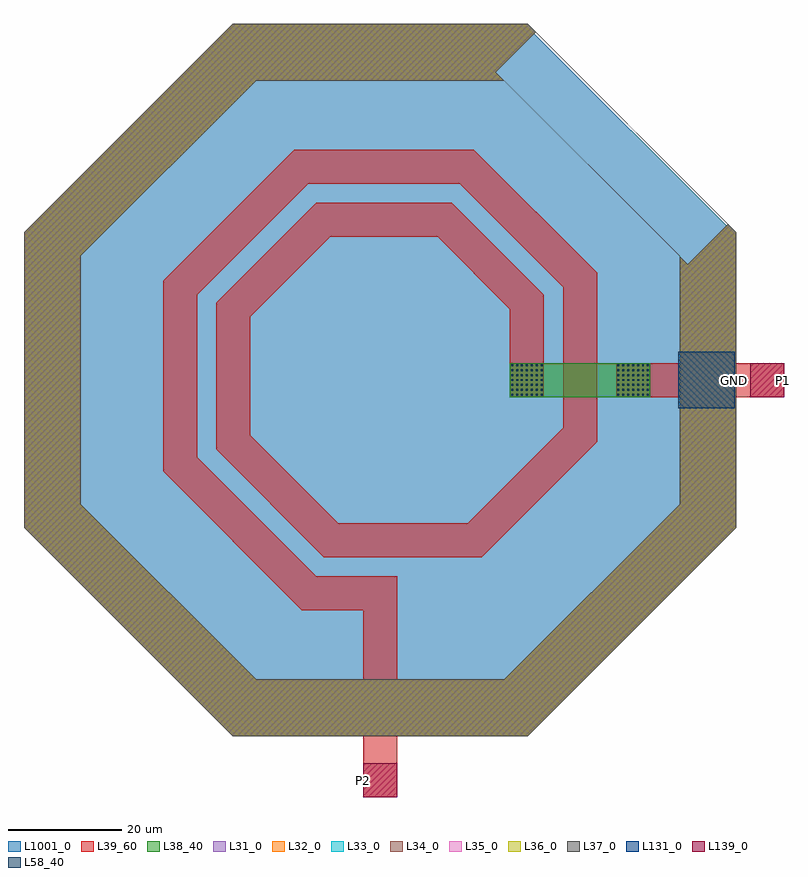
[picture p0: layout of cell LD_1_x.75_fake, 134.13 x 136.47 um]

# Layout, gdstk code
import gdstk
lib = gdstk.Library(unit=1e-6, precision=1e-09)
def R(c, l, rs):  # rectangles x0, y0, x1, y1
    for r in rs: c.add(gdstk.rectangle(r[:2], r[2:], *l))
def A(c, l, x, y, w, h, nx, ny, dx, dy):  # array of equal rectangles
    R(c, l, [(x+i*dx, y+j*dy, x+i*dx+w, y+j*dy+h) for i in range(nx) for j in range(ny)])
def P(c, l, *ps):  # polygons
    for p in ps: c.add(gdstk.Polygon(p, *l))
L31_0 = (31, 0)
L32_0 = (32, 0)
L33_0 = (33, 0)
L34_0 = (34, 0)
L35_0 = (35, 0)
L36_0 = (36, 0)
L37_0 = (37, 0)
L38_40 = (38, 40)
L39_60 = (39, 60)
L58_40 = (58, 40)
L131_0 = (131, 0)
L139_0 = (139, 0)
L1001_0 = (1001, 0)

ld_1_x_75_fake = lib.new_cell('LD_1_x.75_fake')
P(ld_1_x_75_fake, L31_0, [(54.319,20.429),(61.39,27.5),(26.035,62.855),(-26.035,62.855),(-62.855,26.035),(-62.855,-26.035),(-26.035,-62.855),(26.035,-62.855),(62.855,-26.035),(62.855,26.035),(27.5,61.39),(20.429,54.319),(52.855,21.893),(52.855,-21.893),(21.893,-52.855),(-21.893,-52.855),(-52.855,-21.893),(-52.855,21.893),(-21.893,52.855),(21.893,52.855)])
P(ld_1_x_75_fake, L32_0, [(54.319,20.429),(61.39,27.5),(26.035,62.855),(-26.035,62.855),(-62.855,26.035),(-62.855,-26.035),(-26.035,-62.855),(26.035,-62.855),(62.855,-26.035),(62.855,26.035),(27.5,61.39),(20.429,54.319),(52.855,21.893),(52.855,-21.893),(21.893,-52.855),(-21.893,-52.855),(-52.855,-21.893),(-52.855,21.893),(-21.893,52.855),(21.893,52.855)])
P(ld_1_x_75_fake, L33_0, [(54.319,20.429),(61.39,27.5),(26.035,62.855),(-26.035,62.855),(-62.855,26.035),(-62.855,-26.035),(-26.035,-62.855),(26.035,-62.855),(62.855,-26.035),(62.855,26.035),(27.5,61.39),(20.429,54.319),(52.855,21.893),(52.855,-21.893),(21.893,-52.855),(-21.893,-52.855),(-52.855,-21.893),(-52.855,21.893),(-21.893,52.855),(21.893,52.855)])
P(ld_1_x_75_fake, L34_0, [(54.319,20.429),(61.39,27.5),(26.035,62.855),(-26.035,62.855),(-62.855,26.035),(-62.855,-26.035),(-26.035,-62.855),(26.035,-62.855),(62.855,-26.035),(62.855,26.035),(27.5,61.39),(20.429,54.319),(52.855,21.893),(52.855,-21.893),(21.893,-52.855),(-21.893,-52.855),(-52.855,-21.893),(-52.855,21.893),(-21.893,52.855),(21.893,52.855)])
P(ld_1_x_75_fake, L35_0, [(54.319,20.429),(61.39,27.5),(26.035,62.855),(-26.035,62.855),(-62.855,26.035),(-62.855,-26.035),(-26.035,-62.855),(26.035,-62.855),(62.855,-26.035),(62.855,26.035),(27.5,61.39),(20.429,54.319),(52.855,21.893),(52.855,-21.893),(21.893,-52.855),(-21.893,-52.855),(-52.855,-21.893),(-52.855,21.893),(-21.893,52.855),(21.893,52.855)])
P(ld_1_x_75_fake, L36_0, [(54.319,20.429),(61.39,27.5),(26.035,62.855),(-26.035,62.855),(-62.855,26.035),(-62.855,-26.035),(-26.035,-62.855),(26.035,-62.855),(62.855,-26.035),(62.855,26.035),(27.5,61.39),(20.429,54.319),(52.855,21.893),(52.855,-21.893),(21.893,-52.855),(-21.893,-52.855),(-52.855,-21.893),(-52.855,21.893),(-21.893,52.855),(21.893,52.855)])
P(ld_1_x_75_fake, L37_0, [(54.319,20.429),(61.39,27.5),(26.035,62.855),(-26.035,62.855),(-62.855,26.035),(-62.855,-26.035),(-26.035,-62.855),(26.035,-62.855),(62.855,-26.035),(62.855,26.035),(27.5,61.39),(20.429,54.319),(52.855,21.893),(52.855,-21.893),(21.893,-52.855),(-21.893,-52.855),(-52.855,-21.893),(-52.855,21.893),(-21.893,52.855),(21.893,52.855)])
R(ld_1_x_75_fake, L38_40, [(22.905,-3,47.655,3)])
P(ld_1_x_75_fake, L38_40, [(54.319,20.429),(61.39,27.5),(26.035,62.855),(-26.035,62.855),(-62.855,26.035),(-62.855,-26.035),(-26.035,-62.855),(26.035,-62.855),(62.855,-26.035),(62.855,26.035),(27.5,61.39),(20.429,54.319),(52.855,21.893),(52.855,-21.893),(21.893,-52.855),(-21.893,-52.855),(-52.855,-21.893),(-52.855,21.893),(-21.893,52.855),(21.893,52.855)])
R(ld_1_x_75_fake, L39_60, [(-3,-73.62,3,-34.62), (41.655,-3,71.28,3)])
P(ld_1_x_75_fake, L39_60, [(22.905,-3),(28.905,-3),(28.905,15.003),(12.657,31.245),(-11.288,31.245),(-28.905,13.628),(-28.905,-12.258),(-9.912,-31.245),(17.912,-31.245),(38.28,-10.883),(38.28,18.888),(16.542,40.62),(-15.167,40.62),(-38.28,17.513),(-38.28,-16.138),(-13.798,-40.62),(0,-40.62),(0,-34.62),(-11.312,-34.62),(-32.28,-13.652),(-32.28,15.027),(-12.683,34.62),(14.058,34.62),(32.28,16.402),(32.28,-8.397),(15.428,-25.245),(-7.428,-25.245),(-22.905,-9.772),(-22.905,11.142),(-8.802,25.245),(10.173,25.245),(22.905,12.517)],
  [(54.319,20.429),(61.39,27.5),(26.035,62.855),(-26.035,62.855),(-62.855,26.035),(-62.855,-26.035),(-26.035,-62.855),(26.035,-62.855),(62.855,-26.035),(62.855,26.035),(27.5,61.39),(20.429,54.319),(52.855,21.893),(52.855,-21.893),(21.893,-52.855),(-21.893,-52.855),(-52.855,-21.893),(-52.855,21.893),(-21.893,52.855),(21.893,52.855)])
A(ld_1_x_75_fake, L58_40, 23.118, -2.785, 0.35, 0.35, 7, 7, 0.87, 0.87)
A(ld_1_x_75_fake, L58_40, 41.868, -2.785, 0.35, 0.35, 7, 7, 0.87, 0.87)
R(ld_1_x_75_fake, L131_0, [(52.62,-5,62.62,5)])
R(ld_1_x_75_fake, L139_0, [(-3,-73.62,3,-67.62), (65.28,-3,71.28,3)])
P(ld_1_x_75_fake, L1001_0, [(62.474,25.878),(25.878,62.474),(-25.878,62.474),(-62.474,25.878),(-62.474,-25.878),(-25.878,-62.474),(25.878,-62.474),(62.474,-25.878)],
  [(62.474,25.878),(25.878,62.474),(-25.878,62.474),(-62.474,25.878),(-62.474,-25.878),(-25.878,-62.474),(25.878,-62.474),(62.474,-25.878)],
  [(62.474,25.878),(25.878,62.474),(-25.878,62.474),(-62.474,25.878),(-62.474,-25.878),(-25.878,-62.474),(25.878,-62.474),(62.474,-25.878)],
  [(62.474,25.878),(25.878,62.474),(-25.878,62.474),(-62.474,25.878),(-62.474,-25.878),(-25.878,-62.474),(25.878,-62.474),(62.474,-25.878)],
  [(62.474,25.878),(25.878,62.474),(-25.878,62.474),(-62.474,25.878),(-62.474,-25.878),(-25.878,-62.474),(25.878,-62.474),(62.474,-25.878)],
  [(62.474,25.878),(25.878,62.474),(-25.878,62.474),(-62.474,25.878),(-62.474,-25.878),(-25.878,-62.474),(25.878,-62.474),(62.474,-25.878)],
  [(62.474,25.878),(25.878,62.474),(-25.878,62.474),(-62.474,25.878),(-62.474,-25.878),(-25.878,-62.474),(25.878,-62.474),(62.474,-25.878)],
  [(62.474,25.878),(25.878,62.474),(-25.878,62.474),(-62.474,25.878),(-62.474,-25.878),(-25.878,-62.474),(25.878,-62.474),(62.474,-25.878)],
  [(62.474,25.878),(25.878,62.474),(-25.878,62.474),(-62.474,25.878),(-62.474,-25.878),(-25.878,-62.474),(25.878,-62.474),(62.474,-25.878)])
ld_1_x_75_fake.add(gdstk.Label('P1', (71.278,0), layer=139, texttype=0))
ld_1_x_75_fake.add(gdstk.Label('P2', (-3,-70.621), layer=139, texttype=0))
ld_1_x_75_fake.add(gdstk.Label('GND', (62.621,0), layer=131, texttype=0))

lib.write_gds('LD_1_x.75_fake.gds')
